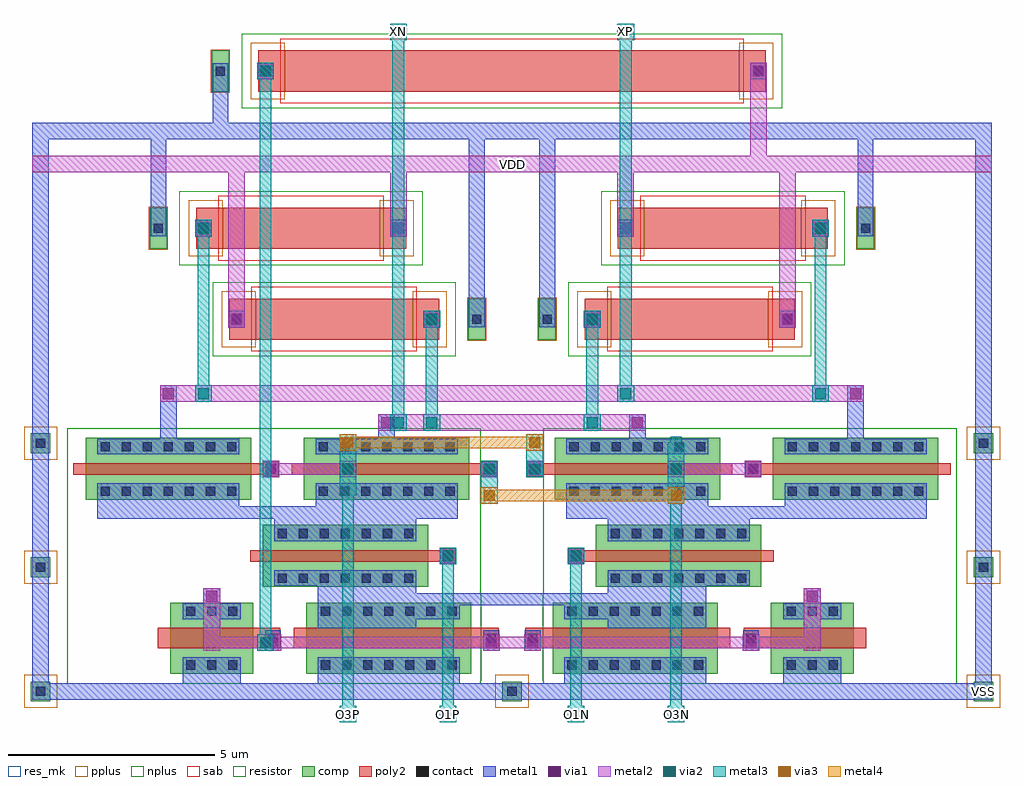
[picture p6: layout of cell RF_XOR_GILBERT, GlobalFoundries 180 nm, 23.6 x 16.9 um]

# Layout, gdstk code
from math import pi, radians
import gdstk
lib = gdstk.Library(unit=1e-6, precision=1e-09)
def R(c, l, rs):  # rectangles x0, y0, x1, y1
    for r in rs: c.add(gdstk.rectangle(r[:2], r[2:], *l))
def A(c, l, x, y, w, h, nx, ny, dx, dy):  # array of equal rectangles
    R(c, l, [(x+i*dx, y+j*dy, x+i*dx+w, y+j*dy+h) for i in range(nx) for j in range(ny)])
def P(c, l, *ps):  # polygons
    for p in ps: c.add(gdstk.Polygon(p, *l))
comp = (22, 0)
poly2 = (30, 0)
pplus = (31, 0)
nplus = (32, 0)
contact = (33, 0)
metal1 = (34, 0)
via1 = (35, 0)
metal2 = (36, 0)
via2 = (38, 0)
via3 = (40, 0)
metal3 = (42, 0)
metal4 = (46, 0)
sab = (49, 0)
resistor = (62, 0)
res_mk = (110, 5)

nfet_w4_l0p5_nf1_top = lib.new_cell('NFET_W4_L0p5_NF1_top')
R(nfet_w4_l0p5_nf1_top, comp, [(-0.42,0,1.3,4)])
R(nfet_w4_l0p5_nf1_top, poly2, [(0.19,-0.3,0.69,4.66)])
R(nfet_w4_l0p5_nf1_top, nplus, [(-0.59,-0.24,1.47,4.24)])
A(nfet_w4_l0p5_nf1_top, contact, -0.32, 0.36, 0.22, 0.22, 1, 7, 0, 0.51)
A(nfet_w4_l0p5_nf1_top, contact, 0.98, 0.36, 0.22, 0.22, 1, 7, 0, 0.51)
R(nfet_w4_l0p5_nf1_top, contact, [(0.33,4.37,0.55,4.59)])
R(nfet_w4_l0p5_nf1_top, metal1, [(-0.4,0.28,-0.02,3.72), (0.9,0.28,1.28,3.72), (0.25,4.29,0.63,4.67)])

nfet_w2_l0p5_nf1_top = lib.new_cell('NFET_W2_L0p5_NF1_top')
R(nfet_w2_l0p5_nf1_top, comp, [(-0.42,0,1.3,2)])
R(nfet_w2_l0p5_nf1_top, poly2, [(0.19,-0.3,0.69,2.66)])
R(nfet_w2_l0p5_nf1_top, nplus, [(-0.59,-0.24,1.47,2.24)])
A(nfet_w2_l0p5_nf1_top, contact, -0.32, 0.38, 0.22, 0.22, 1, 3, 0, 0.51)
A(nfet_w2_l0p5_nf1_top, contact, 0.98, 0.38, 0.22, 0.22, 1, 3, 0, 0.51)
R(nfet_w2_l0p5_nf1_top, contact, [(0.33,2.37,0.55,2.59)])
R(nfet_w2_l0p5_nf1_top, metal1, [(-0.4,0.3,-0.02,1.7), (0.9,0.3,1.28,1.7), (0.25,2.29,0.63,2.67)])

nfet_w4_l0p28_nf1_top = lib.new_cell('NFET_W4_L0p28_NF1_top')
R(nfet_w4_l0p28_nf1_top, comp, [(-0.42,0,1.08,4)])
P(nfet_w4_l0p28_nf1_top, poly2, [(0.19,-0.3),(0.19,4.3),(0.15,4.3),(0.15,4.66),(0.51,4.66),(0.51,4.3),(0.47,4.3),(0.47,-0.3)])
R(nfet_w4_l0p28_nf1_top, nplus, [(-0.59,-0.24,1.25,4.24)])
A(nfet_w4_l0p28_nf1_top, contact, -0.32, 0.36, 0.22, 0.22, 1, 7, 0, 0.51)
A(nfet_w4_l0p28_nf1_top, contact, 0.76, 0.36, 0.22, 0.22, 1, 7, 0, 0.51)
R(nfet_w4_l0p28_nf1_top, contact, [(0.22,4.37,0.44,4.59)])
R(nfet_w4_l0p28_nf1_top, metal1, [(-0.4,0.28,-0.02,3.72), (0.68,0.28,1.06,3.72), (0.14,4.29,0.52,4.67)])

rhr_w1_l3p8 = lib.new_cell('RHR_W1_L3p8')
R(rhr_w1_l3p8, comp, [(-1.76,0,-1.34,1)])
R(rhr_w1_l3p8, poly2, [(-0.64,0,4.44,1)])
R(rhr_w1_l3p8, pplus, [(-0.82,-0.18,0,1.18), (3.8,-0.18,4.62,1.18), (-1.78,-0.02,-1.32,1.02)])
R(rhr_w1_l3p8, contact, [(-1.66,0.39,-1.44,0.61), (-0.57,0.39,-0.35,0.61), (4.15,0.39,4.37,0.61)])
R(rhr_w1_l3p8, metal1, [(-1.74,0.31,-1.36,0.69), (-0.65,0.31,-0.27,0.69), (4.07,0.31,4.45,0.69)])
R(rhr_w1_l3p8, sab, [(-0.1,-0.28,3.9,1.28)])
R(rhr_w1_l3p8, resistor, [(-1.04,-0.4,4.84,1.4)])
R(rhr_w1_l3p8, res_mk, [(0,0,3.8,1)])

tap_sub = lib.new_cell('TAP_SUB')
R(tap_sub, comp, [(-0.24,-0.24,0.24,0.24)])
R(tap_sub, pplus, [(-0.4,-0.4,0.4,0.4)])
R(tap_sub, contact, [(-0.11,-0.11,0.11,0.11)])
R(tap_sub, metal1, [(-0.2,-0.2,0.2,0.2)])

xor_half = lib.new_cell('XOR_HALF')
R(xor_half, nplus, [(0.75,-0.66,10.75,5.52)])
R(xor_half, metal1, [(0,-1.05,11.6,-0.65), (11.2,-1.05,11.6,12.9), (1.26,-0.85,4.7,-0.02), (6.56,-0.85,7.96,-0.02), (0.3,0.13,0.7,0.53), (5.58,0.13,5.98,0.53), (2.31,0.68,4.7,2.08), (7.06,0.68,7.46,1.65), (0,1.23,4.7,1.53), (7.06,1.25,7.46,1.65), (1.35,2.23,1.75,2.63), (2.31,2.78,5.75,3.63), (1.31,3.33,4.75,4.18), (1.31,3.33,10.03,3.63), (6.59,3.33,10.03,4.18), (0.35,4.33,0.75,4.73), (5.63,4.33,6.03,4.73), (2.83,5.2,3.23,5.85), (8.11,5.2,8.51,6.55), (2.83,5.45,3.23,5.85), (8.11,6.15,8.51,6.55), (1.74,7.95,2.14,8.35), (6.46,7.95,6.86,8.35), (0.66,7.96,1.04,12.9), (2.54,10.15,2.94,10.55), (7.26,10.15,7.66,10.55), (8.36,10.16,8.74,12.9), (-0.2,12.5,11.6,12.9)])
R(xor_half, via1, [(0.37,0.2,0.63,0.46), (5.65,0.2,5.91,0.46), (7.13,1.32,7.39,1.58), (1.42,2.3,1.68,2.56), (0.42,4.4,0.68,4.66), (5.7,4.4,5.96,4.66), (2.9,5.52,3.16,5.78), (8.18,6.22,8.44,6.48), (1.81,8.02,2.07,8.28), (6.53,8.02,6.79,8.28), (2.61,10.22,2.87,10.48), (7.33,10.22,7.59,10.48)])
R(xor_half, metal2, [(0.3,0.13,0.7,0.53), (5.58,0.13,5.98,0.53), (7.06,0.13,7.46,1.65), (-0.14,0.19,5.92,0.47), (5.64,0.19,7.4,0.47), (7.06,1.25,7.46,1.65), (1.35,2.23,1.75,2.63), (0.35,4.33,0.75,4.73), (3.77,4.33,4.17,4.73), (5.63,4.33,6.03,4.73), (3.83,4.39,5.97,4.67), (-0.2,5.45,3.23,5.85), (1.74,5.45,2.14,5.85), (2.83,5.45,3.23,5.85), (-0.2,6.15,8.51,6.55), (7.26,6.15,7.66,6.55), (8.11,6.15,8.51,6.55), (1.74,7.95,2.14,8.35), (6.46,7.95,6.86,8.35), (6.46,7.95,6.86,12.1), (2.54,10.15,2.94,10.55), (2.54,10.15,2.94,12.1), (7.26,10.15,7.66,10.55), (-0.2,11.7,11.6,12.1)])
R(xor_half, via2, [(1.42,2.3,1.68,2.56), (0.42,4.4,0.68,4.66), (3.84,4.4,4.1,4.66), (1.81,5.52,2.07,5.78), (7.33,6.22,7.59,6.48), (1.81,8.02,2.07,8.28), (7.33,10.22,7.59,10.48)])
R(xor_half, metal3, [(1.35,2.23,1.75,2.63), (0.35,4.33,0.75,4.73), (3.77,4.33,4.17,4.73), (1.74,5.45,2.14,5.85), (1.8,5.51,2.08,8.29), (7.26,6.15,7.66,6.55), (7.32,6.21,7.6,10.49), (1.74,7.95,2.14,8.35), (7.26,10.15,7.66,10.55)])
xor_half.add(gdstk.Reference(nfet_w4_l0p5_nf1_top, (4.98,0), rotation=pi/2))
xor_half.add(gdstk.Reference(nfet_w2_l0p5_nf1_top, (8.26,0), rotation=pi/2))
xor_half.add(gdstk.Reference(nfet_w4_l0p28_nf1_top, (6.03,2.1), rotation=pi/2))
xor_half.add(gdstk.Reference(nfet_w4_l0p28_nf1_top, (5.03,4.2), rotation=pi/2))
xor_half.add(gdstk.Reference(nfet_w4_l0p28_nf1_top, (10.31,4.2), rotation=pi/2))
xor_half.add(gdstk.Reference(rhr_w1_l3p8, (2.4,7.65)))
xor_half.add(gdstk.Reference(rhr_w1_l3p8, (7,9.85), rotation=pi, x_reflection=True))
xor_half.add(gdstk.Reference(tap_sub, (11.4,-0.85)))
xor_half.add(gdstk.Reference(tap_sub, (11.4,2.15)))
xor_half.add(gdstk.Reference(tap_sub, (11.4,5.15)))

rhr_w1_l11 = lib.new_cell('RHR_W1_L11')
R(rhr_w1_l11, comp, [(-1.76,0,-1.34,1)])
R(rhr_w1_l11, poly2, [(-0.64,0,11.64,1)])
R(rhr_w1_l11, pplus, [(-0.82,-0.18,0,1.18), (11,-0.18,11.82,1.18), (-1.78,-0.02,-1.32,1.02)])
R(rhr_w1_l11, contact, [(-1.66,0.39,-1.44,0.61), (-0.57,0.39,-0.35,0.61), (11.35,0.39,11.57,0.61)])
R(rhr_w1_l11, metal1, [(-1.74,0.31,-1.36,0.69), (-0.65,0.31,-0.27,0.69), (11.27,0.31,11.65,0.69)])
R(rhr_w1_l11, sab, [(-0.1,-0.28,11.1,1.28)])
R(rhr_w1_l11, resistor, [(-1.04,-0.4,12.04,1.4)])
R(rhr_w1_l11, res_mk, [(0,0,11,1)])

rf_xor_gilbert = lib.new_cell('RF_XOR_GILBERT')
R(rf_xor_gilbert, metal1, [(-7.24,12.9,-6.86,13.96), (-6.16,13.95,-5.76,14.35), (5.76,13.95,6.16,14.35)])
R(rf_xor_gilbert, via1, [(-6.09,14.02,-5.83,14.28), (5.83,14.02,6.09,14.28)])
R(rf_xor_gilbert, metal2, [(-6.16,0.13,-5.76,0.53), (-2.95,5.45,-2.55,5.85), (2.55,6.15,2.95,6.55), (5.76,11.7,6.16,14.35), (-6.16,13.95,-5.76,14.35), (5.76,13.95,6.16,14.35)])
R(rf_xor_gilbert, via2, [(-6.09,0.2,-5.83,0.46), (-2.88,5.52,-2.62,5.78), (2.62,6.22,2.88,6.48), (-6.09,14.02,-5.83,14.28)])
R(rf_xor_gilbert, via3, [(-0.68,3.76,-0.42,4.02), (3.84,3.76,4.1,4.02), (-4.1,5.04,-3.84,5.3), (0.42,5.04,0.68,5.3)])
R(rf_xor_gilbert, metal3, [(-4.17,-1.6,-3.77,-1.2), (-1.75,-1.6,-1.35,-1.2), (1.35,-1.6,1.75,-1.2), (3.77,-1.6,4.17,-1.2), (-4.11,-1.54,-3.83,5.31), (-1.69,-1.54,-1.41,2.57), (1.41,-1.54,1.69,2.57), (3.83,-1.54,4.11,5.31), (-6.16,0.13,-5.76,0.53), (-6.1,0.19,-5.82,14.29), (-0.75,3.69,-0.35,4.73), (-0.75,3.69,-0.35,4.09), (3.77,3.69,4.17,4.09), (-4.17,3.89,-3.77,5.17), (3.77,3.89,4.17,5.17), (0.35,4.33,0.75,5.37), (-4.17,4.97,-3.77,5.37), (0.35,4.97,0.75,5.37), (-2.95,5.45,-2.55,5.85), (-2.89,5.51,-2.61,15.24), (2.55,6.15,2.95,6.55), (2.61,6.21,2.89,15.24), (-6.16,13.95,-5.76,14.35), (-2.95,14.9,-2.55,15.3), (2.55,14.9,2.95,15.3)])
R(rf_xor_gilbert, metal4, [(-0.75,3.69,-0.35,4.09), (3.77,3.69,4.17,4.09), (-0.69,3.75,4.11,4.03), (-4.17,4.97,-3.77,5.37), (0.35,4.97,0.75,5.37), (-4.11,5.03,0.69,5.31)])
rf_xor_gilbert.add(gdstk.Reference(xor_half, (0,0)))
rf_xor_gilbert.add(gdstk.Reference(xor_half, (0,0), rotation=pi, x_reflection=True))
rf_xor_gilbert.add(gdstk.Reference(rhr_w1_l11, (-5.5,13.65)))
rf_xor_gilbert.add(gdstk.Reference(tap_sub, (0,-0.85)))
rf_xor_gilbert.add(gdstk.Label('VSS', (11.4,-0.85), layer=34, texttype=10))
rf_xor_gilbert.add(gdstk.Label('VDD', (0,11.9), layer=36, texttype=10))
rf_xor_gilbert.add(gdstk.Label('O1P', (-1.55,-1.4), layer=42, texttype=10))
rf_xor_gilbert.add(gdstk.Label('O1N', (1.55,-1.4), layer=42, texttype=10))
rf_xor_gilbert.add(gdstk.Label('O3P', (-3.97,-1.4), layer=42, texttype=10))
rf_xor_gilbert.add(gdstk.Label('O3N', (3.97,-1.4), layer=42, texttype=10))
rf_xor_gilbert.add(gdstk.Label('XP', (2.75,15.1), layer=42, texttype=10))
rf_xor_gilbert.add(gdstk.Label('XN', (-2.75,15.1), layer=42, texttype=10))

lib.write_gds('RF_XOR_GILBERT.gds')
